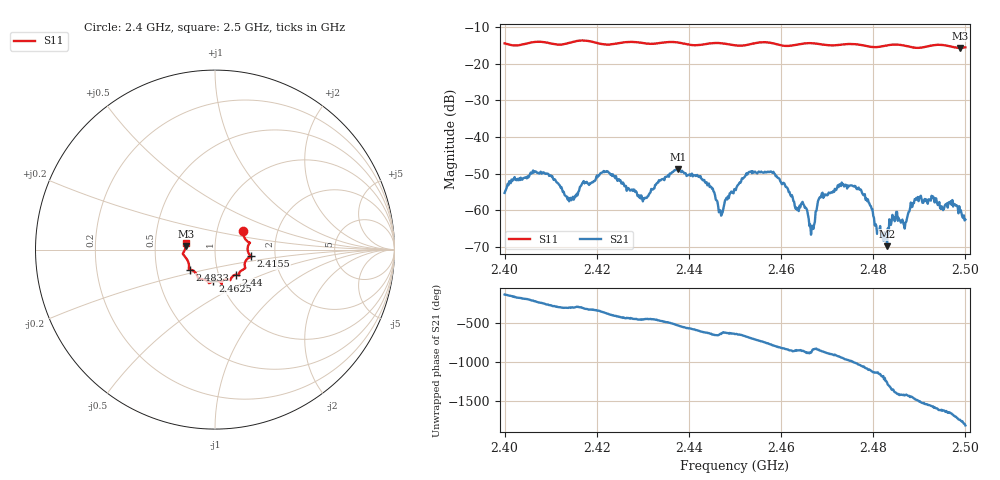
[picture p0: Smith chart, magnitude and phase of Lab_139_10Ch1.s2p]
# Hz S RI R 50
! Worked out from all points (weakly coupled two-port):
!   601 points, 2.4 GHz to 2.5 GHz, reference 50 ohm
!   highest |S21| = -48.78 dB at 2.4377 GHz (marker M1); lowest = -69.8 dB at 2.483 GHz (marker M2)
!   lowest |S11| = -15.7 dB at 2.4988 GHz (marker M3), VSWR 1.39, Z = 36 + j1.39 ohm
!   |S11| at or under -10 dB: start of sweep to end of sweep
!   S12 and S22 are empty: the file has one direction only
!   S11 on the Smith chart (normalised r, x): 2.4 GHz: 1.33, +0.29; 2.4155 GHz: 1.49, -0.11; 2.44 GHz: 1.21, -0.35; 2.4625 GHz: 0.92, -0.34; 2.4833 GHz: 0.74, -0.17; 2.5 GHz: 0.72, +0.06
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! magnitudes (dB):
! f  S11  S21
! 2.4 GHz  -14.5  -55.3
! 2.4067 GHz  -14.1  -49.4
! 2.4155 GHz  -13.9  -56.2
! 2.4167 GHz  -13.7  -53.2
! 2.422 GHz  -14.8  -49.5
! 2.4303 GHz  -14.4  -56.9
! 2.4333 GHz  -14.4  -52.4
! 2.4377 GHz  -14.3  -48.8
! 2.44 GHz  -14.8  -50.4
! 2.4447 GHz  -14.5  -53.6
! 2.447 GHz  -14.4  -61.5
! 2.45 GHz  -15.0  -54.2
! 2.4578 GHz  -14.4  -49.4
! 2.4625 GHz  -15.0  -56.4
! 2.4667 GHz  -14.4  -64.6
! 2.4685 GHz  -14.7  -56.4
! 2.4737 GHz  -14.7  -53.5
! 2.483 GHz  -15.0  -69.8
! 2.4833 GHz  -15.0  -66.5
! 2.4898 GHz  -15.7  -57.5
! 2.4988 GHz  -15.7  -60.3
! 2.5 GHz  -15.6  -62.5
